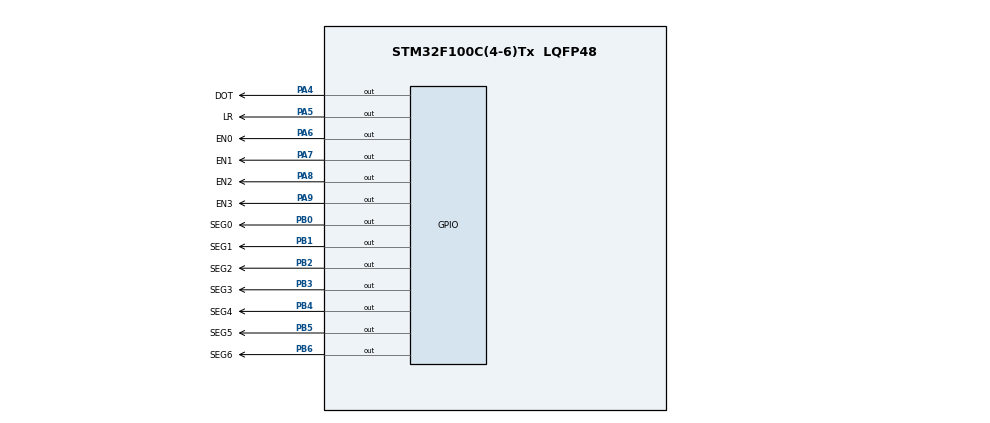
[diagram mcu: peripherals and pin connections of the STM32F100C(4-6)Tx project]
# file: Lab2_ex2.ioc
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Mcu.Family=STM32F1
Mcu.Name=STM32F100C(4-6)Tx
Mcu.Package=LQFP48
NVIC.PriorityGroup=NVIC_PRIORITYGROUP_4
NVIC.TIM2_IRQn=true\:0\:0\:false\:false\:true\:true\:true\:true
PA4.GPIO_Label=DOT
PA4.Signal=GPIO_Output
PA5.GPIO_Label=LR
PA5.Signal=GPIO_Output
PA6.GPIO_Label=EN0
PA6.Signal=GPIO_Output
PA7.GPIO_Label=EN1
PA7.Signal=GPIO_Output
PA8.GPIO_Label=EN2
PA8.Signal=GPIO_Output
PA9.GPIO_Label=EN3
PA9.Signal=GPIO_Output
PB0.GPIO_Label=SEG0
PB0.Signal=GPIO_Output
PB1.GPIO_Label=SEG1
PB1.Signal=GPIO_Output
PB2.GPIO_Label=SEG2
PB2.Signal=GPIO_Output
PB3.GPIO_Label=SEG3
PB3.Signal=GPIO_Output
PB4.GPIO_Label=SEG4
PB4.Signal=GPIO_Output
PB5.GPIO_Label=SEG5
PB5.Signal=GPIO_Output
PB6.GPIO_Label=SEG6
PB6.Signal=GPIO_Output
ProjectManager.HeapSize=0x200
ProjectManager.StackSize=0x400
ProjectManager.TargetToolchain=STM32CubeIDE
RCC.APB1Freq_Value=8000000
RCC.APB2Freq_Value=8000000
TIM2.Period=9
TIM2.Prescaler=7999
VP_SYS_VS_ND.Mode=No_Debug
VP_TIM2_VS_ClockSourceINT.Mode=Internal
board=custom

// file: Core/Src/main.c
/* USER CODE BEGIN Header */
/**
  ******************************************************************************
  * @file           : main.c
  * @brief          : Main program body
  ******************************************************************************
  * @attention
  *
  * Copyright (c) 2024 STMicroelectronics.
  * All rights reserved.
  *
  * This software is licensed under terms that can be found in the LICENSE file
  * in the root directory of this software component.
  * If no LICENSE file comes with this software, it is provided AS-IS.
  *
  ******************************************************************************
  */
/* USER CODE END Header */
#include "main.h"

/* USER CODE BEGIN Includes */
#include "software_timer.h"

/* USER CODE END Includes */

TIM_HandleTypeDef htim2;

void SystemClock_Config(void);
static void MX_GPIO_Init(void);
static void MX_TIM2_Init(void);

/* USER CODE BEGIN 0 */

void display7SEG(int num){
		 		  switch (num){

		 		  case 0:

			 	 		  	  	  HAL_GPIO_WritePin(GPIOA, EN0_Pin, 1);
								  HAL_GPIO_WritePin(GPIOA, EN1_Pin, 1);
								  HAL_GPIO_WritePin(GPIOA, EN2_Pin, 1);
								  HAL_GPIO_WritePin(GPIOA, EN3_Pin, 0);

		 			 	 		  HAL_GPIO_WritePin(GPIOB, SEG0_Pin, 0);
		 			 	 		  HAL_GPIO_WritePin(GPIOB, SEG1_Pin, 0);
		 			 	 		  HAL_GPIO_WritePin(GPIOB, SEG2_Pin, 0);
		 			 	 		  HAL_GPIO_WritePin(GPIOB, SEG3_Pin, 0);
		 			 	 		  HAL_GPIO_WritePin(GPIOB, SEG4_Pin, 0);
		 			 	 		  HAL_GPIO_WritePin(GPIOB, SEG5_Pin, 0);
		 			 	 		  HAL_GPIO_WritePin(GPIOB, SEG6_Pin, 1);

		 			 	 		  break;

		 		  case 1:

								  HAL_GPIO_WritePin(GPIOA, EN0_Pin, 0);
								  HAL_GPIO_WritePin(GPIOA, EN1_Pin, 1);
								  HAL_GPIO_WritePin(GPIOA, EN2_Pin, 1);
								  HAL_GPIO_WritePin(GPIOA, EN3_Pin, 1);

		 			 	 		  HAL_GPIO_WritePin(GPIOB, SEG0_Pin, 1);
		 			 	 		  HAL_GPIO_WritePin(GPIOB, SEG1_Pin, 0);
		 			 	 		  HAL_GPIO_WritePin(GPIOB, SEG2_Pin, 0);
		 			 	 		  HAL_GPIO_WritePin(GPIOB, SEG3_Pin, 1);
		 			 	 		  HAL_GPIO_WritePin(GPIOB, SEG4_Pin, 1);
		 			 	 		  HAL_GPIO_WritePin(GPIOB, SEG5_Pin, 1);
		 			 	 		  HAL_GPIO_WritePin(GPIOB, SEG6_Pin, 1);

		 			 	 		  break;

		 		  case 2:

								  HAL_GPIO_WritePin(GPIOA, EN0_Pin, 1);
								  HAL_GPIO_WritePin(GPIOA, EN1_Pin, 0);
								  HAL_GPIO_WritePin(GPIOA, EN2_Pin, 1);
								  HAL_GPIO_WritePin(GPIOA, EN3_Pin, 1);

		 			 	 		  HAL_GPIO_WritePin(GPIOB, SEG0_Pin, 0);
		 			 	 		  HAL_GPIO_WritePin(GPIOB, SEG1_Pin, 0);
		 			 	 		  HAL_GPIO_WritePin(GPIOB, SEG2_Pin, 1);
		 			 	 		  HAL_GPIO_WritePin(GPIOB, SEG3_Pin, 0);
		 			 	 		  HAL_GPIO_WritePin(GPIOB, SEG4_Pin, 0);
		 			 	 		  HAL_GPIO_WritePin(GPIOB, SEG5_Pin, 1);
		 			 	 		  HAL_GPIO_WritePin(GPIOB, SEG6_Pin, 0);

		 			 	 		  break;

		 		  case 3:

								  HAL_GPIO_WritePin(GPIOA, EN0_Pin, 1);
								  HAL_GPIO_WritePin(GPIOA, EN1_Pin, 1);
								  HAL_GPIO_WritePin(GPIOA, EN2_Pin, 0);
								  HAL_GPIO_WritePin(GPIOA, EN3_Pin, 1);

		 			 	 		  HAL_GPIO_WritePin(GPIOB, SEG0_Pin, 0);
		 			 	 		  HAL_GPIO_WritePin(GPIOB, SEG1_Pin, 0);
		 			 	 		  HAL_GPIO_WritePin(GPIOB, SEG2_Pin, 0);
		 			 	 		  HAL_GPIO_WritePin(GPIOB, SEG3_Pin, 0);
		 			 	 		  HAL_GPIO_WritePin(GPIOB, SEG4_Pin, 1);
		 			 	 		  HAL_GPIO_WritePin(GPIOB, SEG5_Pin, 1);
		 			 	 		  HAL_GPIO_WritePin(GPIOB, SEG6_Pin, 0);

		 			 	 		  break;

		 		  default:
		 			  	  	  	  break;

		 		  }

}
/* USER CODE END 0 */

int main(void)
{

  /* MCU Configuration--------------------------------------------------------*/

  /* Reset of all peripherals, Initializes the Flash interface and the Systick. */
  HAL_Init();

  /* Configure the system clock */
  SystemClock_Config();

  /* Initialize all configured peripherals */
  MX_GPIO_Init();
  MX_TIM2_Init();
  /* USER CODE BEGIN 2 */
  HAL_TIM_Base_Start_IT(&htim2);

  /* USER CODE END 2 */

  /* Infinite loop */
  /* USER CODE BEGIN WHILE */
//  setTimer1(50);
//  setTimer2(100);
//  setTimer3(150);
//  setTimer4(200);
    set2Led(50);
    extern int counter1;

  while (1)
  {
//	  if(timer1_flag == 1){
// 		  setTimer1(50);
//
//	 		  HAL_GPIO_TogglePin(GPIOA, LR_Pin);
//
//	 		  HAL_GPIO_WritePin(GPIOA, EN0_Pin, 0);
//	 		  HAL_GPIO_WritePin(GPIOA, EN1_Pin, 1);
//	 		  HAL_GPIO_WritePin(GPIOA, EN2_Pin, 1);
//	 		  HAL_GPIO_WritePin(GPIOA, EN3_Pin, 1);
//
//	 		  HAL_GPIO_WritePin(GPIOB, SEG0_Pin, 1);
//	 		  HAL_GPIO_WritePin(GPIOB, SEG1_Pin, 0);
//	 		  HAL_GPIO_WritePin(GPIOB, SEG2_Pin, 0);
//	 		  HAL_GPIO_WritePin(GPIOB, SEG3_Pin, 1);
//	 		  HAL_GPIO_WritePin(GPIOB, SEG4_Pin, 1);
//	 		  HAL_GPIO_WritePin(GPIOB, SEG5_Pin, 1);
//	 		  HAL_GPIO_WritePin(GPIOB, SEG6_Pin, 1);
//
//
//
//	 	  	  }
//
//
//	  if(timer2_flag == 1){
//		 		  setTimer2(150);
//
//	 		  HAL_GPIO_TogglePin(GPIOA, LR_Pin);
//
//	 		  HAL_GPIO_WritePin(GPIOA, EN0_Pin, 1);
//	 		  HAL_GPIO_WritePin(GPIOA, EN1_Pin, 0);
//	 		  HAL_GPIO_WritePin(GPIOA, EN2_Pin, 1);
//	 		  HAL_GPIO_WritePin(GPIOA, EN3_Pin, 1);
//
//	 		  HAL_GPIO_WritePin(GPIOB, SEG0_Pin, 0);
//	 		  HAL_GPIO_WritePin(GPIOB, SEG1_Pin, 0);
//	 		  HAL_GPIO_WritePin(GPIOB, SEG2_Pin, 1);
//	 		  HAL_GPIO_WritePin(GPIOB, SEG3_Pin, 0);
//	 		  HAL_GPIO_WritePin(GPIOB, SEG4_Pin, 0);
//	 		  HAL_GPIO_WritePin(GPIOB, SEG5_Pin, 1);
//	 		  HAL_GPIO_WritePin(GPIOB, SEG6_Pin, 0);
//
//
//
//	 		  }
//
//	  if(timer3_flag == 1){
//		 		  setTimer3(200);
//
//	 		  HAL_GPIO_TogglePin(GPIOA, LR_Pin);
//
//	 		  HAL_GPIO_WritePin(GPIOA, EN0_Pin, 1);
//	 		  HAL_GPIO_WritePin(GPIOA, EN1_Pin, 1);
//	 		  HAL_GPIO_WritePin(GPIOA, EN2_Pin, 0);
//	 		  HAL_GPIO_WritePin(GPIOA, EN3_Pin, 1);
//
//	 		  HAL_GPIO_WritePin(GPIOB, SEG0_Pin, 0);
//	 		  HAL_GPIO_WritePin(GPIOB, SEG1_Pin, 0);
//	 		  HAL_GPIO_WritePin(GPIOB, SEG2_Pin, 0);
//	 		  HAL_GPIO_WritePin(GPIOB, SEG3_Pin, 0);
//	 		  HAL_GPIO_WritePin(GPIOB, SEG4_Pin, 1);
//	 		  HAL_GPIO_WritePin(GPIOB, SEG5_Pin, 1);
//	 		  HAL_GPIO_WritePin(GPIOB, SEG6_Pin, 0);
//
//
//
//	 		  }
//
//	  if(timer4_flag == 1){
//		 		  setTimer4(250);
//
//	 		  HAL_GPIO_TogglePin(GPIOA, LR_Pin);
//
//	 		  HAL_GPIO_WritePin(GPIOA, EN0_Pin, 1);
//	 		  HAL_GPIO_WritePin(GPIOA, EN1_Pin, 1);
//	 		  HAL_GPIO_WritePin(GPIOA, EN2_Pin, 1);
//	 		  HAL_GPIO_WritePin(GPIOA, EN3_Pin, 0);
//
//	 		  HAL_GPIO_WritePin(GPIOB, SEG0_Pin, 0);
//	 		  HAL_GPIO_WritePin(GPIOB, SEG1_Pin, 0);
//	 		  HAL_GPIO_WritePin(GPIOB, SEG2_Pin, 0);
//	 		  HAL_GPIO_WritePin(GPIOB, SEG3_Pin, 0);
//	 		  HAL_GPIO_WritePin(GPIOB, SEG4_Pin, 0);
//	 		  HAL_GPIO_WritePin(GPIOB, SEG5_Pin, 0);
//	 		  HAL_GPIO_WritePin(GPIOB, SEG6_Pin, 1);
//
//
//
//	 		  }
//
//	  	  	  //ham on/off 2 led
//	  if(timer5_flag == 1){
//	 			  set2Led(100);
//
//	 		  HAL_GPIO_TogglePin(GPIOA, DOT_Pin);
//	 		  }

	  	  //ham on/off 2 led
	  if(timer5_flag == 1){
		  HAL_GPIO_TogglePin(GPIOA, DOT_Pin);
		  HAL_GPIO_TogglePin(GPIOA, LR_Pin);
		  set2Led(50);
	  }

	  	  	  if(counter1 >= 150){
//	 		  HAL_GPIO_WritePin(GPIOA, EN0_Pin, 0);
//	 		  HAL_GPIO_WritePin(GPIOA, EN1_Pin, 1);
//	 		  HAL_GPIO_WritePin(GPIOA, EN2_Pin, 1);
//	 		  HAL_GPIO_WritePin(GPIOA, EN3_Pin, 1);
//
//	 		  HAL_GPIO_WritePin(GPIOB, SEG0_Pin, 1);
//	 		  HAL_GPIO_WritePin(GPIOB, SEG1_Pin, 0);
//	 		  HAL_GPIO_WritePin(GPIOB, SEG2_Pin, 0);
//	 		  HAL_GPIO_WritePin(GPIOB, SEG3_Pin, 1);
//	 		  HAL_GPIO_WritePin(GPIOB, SEG4_Pin, 1);
//	 		  HAL_GPIO_WritePin(GPIOB, SEG5_Pin, 1);
//	 		  HAL_GPIO_WritePin(GPIOB, SEG6_Pin, 1);
		  	  	  display7SEG(1);
	  	  	  }

	 		  else if(counter1 >= 100){
//	 		  HAL_GPIO_WritePin(GPIOA, EN0_Pin, 1);
//	 		  HAL_GPIO_WritePin(GPIOA, EN1_Pin, 0);
//	 		  HAL_GPIO_WritePin(GPIOA, EN2_Pin, 1);
//	 		  HAL_GPIO_WritePin(GPIOA, EN3_Pin, 1);
//
//	 		  HAL_GPIO_WritePin(GPIOB, SEG0_Pin, 0);
//	 		  HAL_GPIO_WritePin(GPIOB, SEG1_Pin, 0);
//	 		  HAL_GPIO_WritePin(GPIOB, SEG2_Pin, 1);
//	 		  HAL_GPIO_WritePin(GPIOB, SEG3_Pin, 0);
//	 		  HAL_GPIO_WritePin(GPIOB, SEG4_Pin, 0);
//	 		  HAL_GPIO_WritePin(GPIOB, SEG5_Pin, 1);
//	 		  HAL_GPIO_WritePin(GPIOB, SEG6_Pin, 0);
	 			  display7SEG(2);
	 		  }

	 		  else if(counter1 >= 50){
//	 		  HAL_GPIO_WritePin(GPIOA, EN0_Pin, 1);
//	 		  HAL_GPIO_WritePin(GPIOA, EN1_Pin, 1);
//	 		  HAL_GPIO_WritePin(GPIOA, EN2_Pin, 0);
//	 		  HAL_GPIO_WritePin(GPIOA, EN3_Pin, 1);
//
//	 		  HAL_GPIO_WritePin(GPIOB, SEG0_Pin, 0);
//	 		  HAL_GPIO_WritePin(GPIOB, SEG1_Pin, 0);
//	 		  HAL_GPIO_WritePin(GPIOB, SEG2_Pin, 0);
//	 		  HAL_GPIO_WritePin(GPIOB, SEG3_Pin, 0);
//	 		  HAL_GPIO_WritePin(GPIOB, SEG4_Pin, 1);
//	 		  HAL_GPIO_WritePin(GPIOB, SEG5_Pin, 1);
//	 		  HAL_GPIO_WritePin(GPIOB, SEG6_Pin, 0);
	 			 display7SEG(3);
	 		  }

	 		  else if(counter1 >= 0){
//
//	 		  HAL_GPIO_WritePin(GPIOA, EN0_Pin, 1);
//	 		  HAL_GPIO_WritePin(GPIOA, EN1_Pin, 1);
//	 		  HAL_GPIO_WritePin(GPIOA, EN2_Pin, 1);
//	 		  HAL_GPIO_WritePin(GPIOA, EN3_Pin, 0);
//
//	 		  HAL_GPIO_WritePin(GPIOB, SEG0_Pin, 0);
//	 		  HAL_GPIO_WritePin(GPIOB, SEG1_Pin, 0);
//	 		  HAL_GPIO_WritePin(GPIOB, SEG2_Pin, 0);
//	 		  HAL_GPIO_WritePin(GPIOB, SEG3_Pin, 0);
//	 		  HAL_GPIO_WritePin(GPIOB, SEG4_Pin, 0);
//	 		  HAL_GPIO_WritePin(GPIOB, SEG5_Pin, 0);
//	 		  HAL_GPIO_WritePin(GPIOB, SEG6_Pin, 1);
	 			 display7SEG(0);
	 		  }
	  }

    /* USER CODE END WHILE */

  }

void SystemClock_Config(void)
{
  RCC_OscInitTypeDef RCC_OscInitStruct = {0};
  RCC_ClkInitTypeDef RCC_ClkInitStruct = {0};

  /** Initializes the RCC Oscillators according to the specified parameters
  * in the RCC_OscInitTypeDef structure.
  */
  RCC_OscInitStruct.OscillatorType = RCC_OSCILLATORTYPE_HSI;
  RCC_OscInitStruct.HSIState = RCC_HSI_ON;
  RCC_OscInitStruct.HSICalibrationValue = RCC_HSICALIBRATION_DEFAULT;
  RCC_OscInitStruct.PLL.PLLState = RCC_PLL_NONE;
  if (HAL_RCC_OscConfig(&RCC_OscInitStruct) != HAL_OK)
  {
    Error_Handler();
  }

  /** Initializes the CPU, AHB and APB buses clocks
  */
  RCC_ClkInitStruct.ClockType = RCC_CLOCKTYPE_HCLK|RCC_CLOCKTYPE_SYSCLK
                              |RCC_CLOCKTYPE_PCLK1|RCC_CLOCKTYPE_PCLK2;
  RCC_ClkInitStruct.SYSCLKSource = RCC_SYSCLKSOURCE_HSI;
  RCC_ClkInitStruct.AHBCLKDivider = RCC_SYSCLK_DIV1;
  RCC_ClkInitStruct.APB1CLKDivider = RCC_HCLK_DIV1;
  RCC_ClkInitStruct.APB2CLKDivider = RCC_HCLK_DIV1;

  if (HAL_RCC_ClockConfig(&RCC_ClkInitStruct, FLASH_LATENCY_0) != HAL_OK)
  {
    Error_Handler();
  }
}

static void MX_TIM2_Init(void)
{

  TIM_ClockConfigTypeDef sClockSourceConfig = {0};
  TIM_MasterConfigTypeDef sMasterConfig = {0};

  htim2.Instance = TIM2;
  htim2.Init.Prescaler = 7999;
  htim2.Init.CounterMode = TIM_COUNTERMODE_UP;
  htim2.Init.Period = 9;
  htim2.Init.ClockDivision = TIM_CLOCKDIVISION_DIV1;
  htim2.Init.AutoReloadPreload = TIM_AUTORELOAD_PRELOAD_DISABLE;
  if (HAL_TIM_Base_Init(&htim2) != HAL_OK)
  {
    Error_Handler();
  }
  sClockSourceConfig.ClockSource = TIM_CLOCKSOURCE_INTERNAL;
  if (HAL_TIM_ConfigClockSource(&htim2, &sClockSourceConfig) != HAL_OK)
  {
    Error_Handler();
  }
  sMasterConfig.MasterOutputTrigger = TIM_TRGO_RESET;
  sMasterConfig.MasterSlaveMode = TIM_MASTERSLAVEMODE_DISABLE;
  if (HAL_TIMEx_MasterConfigSynchronization(&htim2, &sMasterConfig) != HAL_OK)
  {
    Error_Handler();
  }

}

static void MX_GPIO_Init(void)
{
  GPIO_InitTypeDef GPIO_InitStruct = {0};

  /* GPIO Ports Clock Enable */
  __HAL_RCC_GPIOA_CLK_ENABLE();
  __HAL_RCC_GPIOB_CLK_ENABLE();

  /*Configure GPIO pin Output Level */
  HAL_GPIO_WritePin(GPIOA, DOT_Pin|LR_Pin|EN0_Pin|EN1_Pin
                          |EN2_Pin|EN3_Pin, GPIO_PIN_RESET);

  /*Configure GPIO pin Output Level */
  HAL_GPIO_WritePin(GPIOB, SEG0_Pin|SEG1_Pin|SEG2_Pin|SEG3_Pin
                          |SEG4_Pin|SEG5_Pin|SEG6_Pin, GPIO_PIN_RESET);

  /*Configure GPIO pins : DOT_Pin LR_Pin EN0_Pin EN1_Pin
                           EN2_Pin EN3_Pin */
  GPIO_InitStruct.Pin = DOT_Pin|LR_Pin|EN0_Pin|EN1_Pin
                          |EN2_Pin|EN3_Pin;
  GPIO_InitStruct.Mode = GPIO_MODE_OUTPUT_PP;
  GPIO_InitStruct.Pull = GPIO_NOPULL;
  GPIO_InitStruct.Speed = GPIO_SPEED_FREQ_LOW;
  HAL_GPIO_Init(GPIOA, &GPIO_InitStruct);

  /*Configure GPIO pins : SEG0_Pin SEG1_Pin SEG2_Pin SEG3_Pin
                           SEG4_Pin SEG5_Pin SEG6_Pin */
  GPIO_InitStruct.Pin = SEG0_Pin|SEG1_Pin|SEG2_Pin|SEG3_Pin
                          |SEG4_Pin|SEG5_Pin|SEG6_Pin;
  GPIO_InitStruct.Mode = GPIO_MODE_OUTPUT_PP;
  GPIO_InitStruct.Pull = GPIO_NOPULL;
  GPIO_InitStruct.Speed = GPIO_SPEED_FREQ_LOW;
  HAL_GPIO_Init(GPIOB, &GPIO_InitStruct);

}

/* USER CODE BEGIN 4 */
void HAL_TIM_PeriodElapsedCallback(TIM_HandleTypeDef *htim){
	 TimerRun();
 }
/* USER CODE END 4 */

void Error_Handler(void)
{
  __disable_irq();
  while (1)
  {
  }
}
